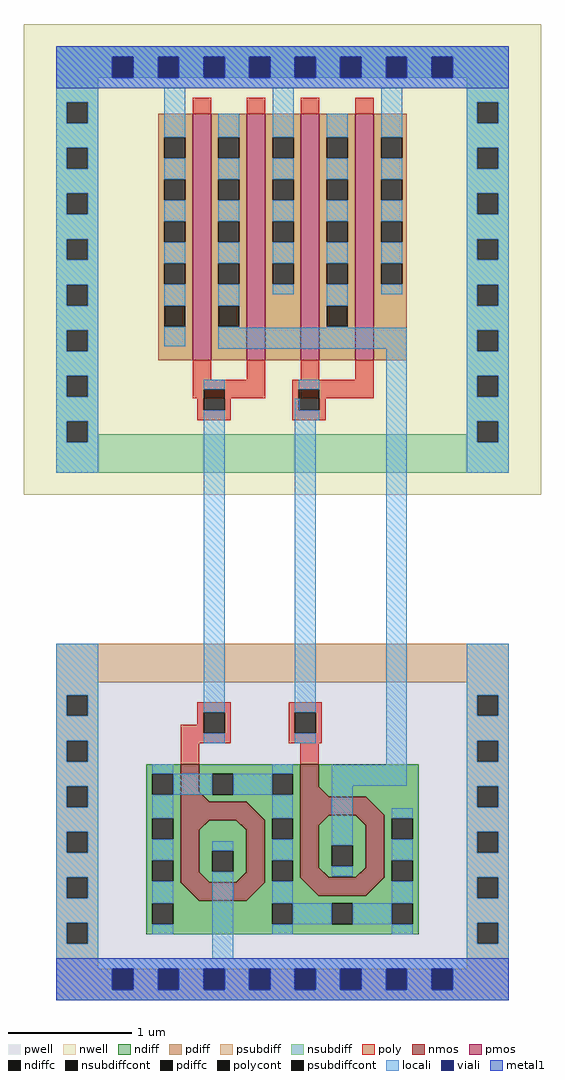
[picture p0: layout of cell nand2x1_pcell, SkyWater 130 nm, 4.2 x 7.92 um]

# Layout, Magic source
magic
tech sky130A
magscale 1 2
<< nwell >>
rect 87 786 579 1550
<< pwell >>
rect 34 542 632 544
rect -31 -30 697 542
rect 34 -34 632 -30
<< pdiffc >>
rect 141 1059 175 1093
rect 229 1059 263 1093
rect 405 1059 439 1093
<< psubdiff >>
rect 34 542 632 544
rect 31 482 635 542
rect 31 480 34 482
rect 632 480 635 482
rect 31 -17 57 17
rect 91 -17 131 17
rect 165 -17 205 17
rect 239 -17 279 17
rect 313 -17 353 17
rect 387 -17 427 17
rect 461 -17 501 17
rect 535 -17 575 17
rect 609 -17 635 17
rect 31 -30 635 -17
rect 34 -34 632 -30
<< nsubdiff >>
rect 34 1497 632 1514
rect 34 1463 57 1497
rect 91 1463 131 1497
rect 165 1463 205 1497
rect 239 1463 279 1497
rect 313 1463 353 1497
rect 387 1463 427 1497
rect 461 1463 501 1497
rect 535 1463 575 1497
rect 609 1463 632 1497
rect 34 822 632 884
<< psubdiffcont >>
rect 57 -17 91 17
rect 131 -17 165 17
rect 205 -17 239 17
rect 279 -17 313 17
rect 353 -17 387 17
rect 427 -17 461 17
rect 501 -17 535 17
rect 575 -17 609 17
<< nsubdiffcont >>
rect 57 1463 91 1497
rect 131 1463 165 1497
rect 205 1463 239 1497
rect 279 1463 313 1497
rect 353 1463 387 1497
rect 427 1463 461 1497
rect 501 1463 535 1497
rect 575 1463 609 1497
<< poly >>
rect 168 375 198 413
rect 362 382 392 383
<< locali >>
rect 34 1497 632 1514
rect 34 1463 57 1497
rect 91 1463 131 1497
rect 165 1463 205 1497
rect 239 1463 279 1497
rect 313 1463 353 1497
rect 387 1463 427 1497
rect 461 1463 501 1497
rect 535 1463 575 1497
rect 609 1463 632 1497
rect 34 1446 632 1463
rect 141 1093 175 1111
rect 141 1027 175 1059
rect 229 1093 263 1111
rect 229 1057 263 1059
rect 405 1093 439 1111
rect 405 1057 439 1059
rect 229 1023 535 1057
rect 353 908 361 942
rect 205 433 239 908
rect 353 441 387 908
rect 353 433 357 441
rect 501 348 535 1023
rect 413 314 535 348
rect 413 233 447 314
rect 219 34 253 167
rect 34 32 632 34
rect 31 17 635 32
rect 31 -17 57 17
rect 91 -17 131 17
rect 165 -17 205 17
rect 239 -17 279 17
rect 313 -17 353 17
rect 387 -17 427 17
rect 461 -17 501 17
rect 535 -17 575 17
rect 609 -17 635 17
rect 31 -30 635 -17
rect 34 -34 632 -30
<< viali >>
rect 57 1463 91 1497
rect 131 1463 165 1497
rect 205 1463 239 1497
rect 279 1463 313 1497
rect 353 1463 387 1497
rect 427 1463 461 1497
rect 501 1463 535 1497
rect 575 1463 609 1497
rect 57 -17 91 17
rect 131 -17 165 17
rect 205 -17 239 17
rect 279 -17 313 17
rect 353 -17 387 17
rect 427 -17 461 17
rect 501 -17 535 17
rect 575 -17 609 17
<< metal1 >>
rect 34 1497 632 1514
rect 34 1463 57 1497
rect 91 1463 131 1497
rect 165 1463 205 1497
rect 239 1463 279 1497
rect 313 1463 353 1497
rect 387 1463 427 1497
rect 461 1463 501 1497
rect 535 1463 575 1497
rect 609 1463 632 1497
rect 34 1446 632 1463
rect 34 32 632 34
rect 31 17 635 32
rect 31 -17 57 17
rect 91 -17 131 17
rect 165 -17 205 17
rect 239 -17 279 17
rect 313 -17 353 17
rect 387 -17 427 17
rect 461 -17 501 17
rect 535 -17 575 17
rect 609 -17 635 17
rect 31 -30 635 -17
rect 34 -34 632 -30
use poly_li1_contact  poly_li1_contact_1
transform 0 1 223 -1 0 417
box -32 -28 34 26
use nmos_bottom  nmos_bottom_0
transform -1 0 360 0 1 73
box 0 0 248 302
use poly_li1_contact  poly_li1_contact_0
transform 0 1 223 -1 0 941
box -32 -28 34 26
use pmos2  pmos2_0
transform 1 0 43 0 1 1404
box 52 -461 352 42
use poly_li1_contact  poly_li1_contact_2
transform 0 -1 369 1 0 415
box -32 -28 34 26
use nmos_top_trim1  nmos_top_trim1_0
transform -1 0 554 0 1 73
box 0 0 248 309
use poly_li1_contact  poly_li1_contact_3
transform 0 1 377 -1 0 941
box -32 -28 34 26
use pmos2  pmos2_1
transform 1 0 219 0 1 1404
box 52 -461 352 42
use diff_ring_side  diff_ring_side_0
transform 1 0 666 0 1 0
box -87 -34 87 1550
use diff_ring_side  diff_ring_side_1
transform 1 0 0 0 1 0
box -87 -34 87 1550
<< end >>

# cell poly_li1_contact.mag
magic
tech sky130
<< poly >>
rect -16 8 17 13
rect -16 -9 -8 8
rect 9 -9 17 8
rect -16 -14 17 -9
<< polycont >>
rect -8 -9 9 8
<< locali >>
rect -16 -9 -8 8
rect 9 -9 17 8
<< end >>

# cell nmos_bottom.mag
magic
tech sky130
magscale 1 2
<< nmos >>
tri 146 215 162 231 se
rect 162 215 192 276
tri 56 185 86 215 se
rect 86 185 192 215
rect 56 84 86 185
tri 86 169 102 185 nw
tri 146 169 162 185 ne
tri 86 84 102 100 sw
tri 146 84 162 100 se
rect 162 84 192 185
tri 56 54 86 84 ne
rect 86 54 162 84
tri 162 54 192 84 nw
<< ndiff >>
rect 0 260 162 276
rect 0 226 10 260
rect 44 226 107 260
rect 141 231 162 260
rect 141 226 146 231
rect 0 215 146 226
tri 146 215 162 231 nw
rect 192 260 248 276
rect 192 226 204 260
rect 238 226 248 260
rect 0 188 56 215
rect 0 154 10 188
rect 44 154 56 188
tri 56 185 86 215 nw
rect 192 188 248 226
rect 0 120 56 154
rect 0 86 10 120
rect 44 86 56 120
rect 0 54 56 86
tri 86 169 102 185 se
rect 102 169 146 185
tri 146 169 162 185 sw
rect 86 135 162 169
rect 86 101 107 135
rect 141 101 162 135
rect 86 100 162 101
tri 86 84 102 100 ne
rect 102 84 146 100
tri 146 84 162 100 nw
rect 192 154 204 188
rect 238 154 248 188
rect 192 120 248 154
rect 192 86 204 120
rect 238 86 248 120
tri 56 54 86 84 sw
tri 162 54 192 84 se
rect 192 54 248 86
rect 0 50 248 54
rect 0 16 10 50
rect 44 16 204 50
rect 238 16 248 50
rect 0 0 248 16
<< ndiffc >>
rect 10 226 44 260
rect 107 226 141 260
rect 204 226 238 260
rect 10 154 44 188
rect 10 86 44 120
rect 107 101 141 135
rect 204 154 238 188
rect 204 86 238 120
rect 10 16 44 50
rect 204 16 238 50
<< poly >>
rect 162 276 192 302
<< locali >>
rect 10 260 44 276
rect 204 260 238 276
rect 44 226 107 260
rect 141 226 204 260
rect 10 188 44 226
rect 10 120 44 154
rect 204 188 238 226
rect 10 50 44 86
rect 107 135 141 151
rect 107 85 141 101
rect 204 120 238 154
rect 10 0 44 16
rect 204 50 238 86
rect 204 0 238 16
<< end >>

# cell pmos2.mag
magic
tech sky130
magscale 1 2
<< nwell >>
rect 52 -436 352 36
<< pmos >>
rect 144 -400 174 0
rect 232 -400 262 0
<< pdiff >>
rect 88 -38 144 0
rect 88 -72 98 -38
rect 132 -72 144 -38
rect 88 -106 144 -72
rect 88 -140 98 -106
rect 132 -140 144 -106
rect 88 -174 144 -140
rect 88 -208 98 -174
rect 132 -208 144 -174
rect 88 -242 144 -208
rect 88 -276 98 -242
rect 132 -276 144 -242
rect 88 -400 144 -276
rect 174 -38 232 0
rect 174 -72 186 -38
rect 220 -72 232 -38
rect 174 -106 232 -72
rect 174 -140 186 -106
rect 220 -140 232 -106
rect 174 -174 232 -140
rect 174 -208 186 -174
rect 220 -208 232 -174
rect 174 -242 232 -208
rect 174 -276 186 -242
rect 220 -276 232 -242
rect 174 -400 232 -276
rect 262 -38 316 0
rect 262 -72 274 -38
rect 308 -72 316 -38
rect 262 -106 316 -72
rect 262 -140 274 -106
rect 308 -140 316 -106
rect 262 -174 316 -140
rect 262 -208 274 -174
rect 308 -208 316 -174
rect 262 -242 316 -208
rect 262 -276 274 -242
rect 308 -276 316 -242
rect 262 -400 316 -276
<< pdiffc >>
rect 98 -72 132 -38
rect 98 -140 132 -106
rect 98 -208 132 -174
rect 98 -276 132 -242
rect 186 -72 220 -38
rect 186 -140 220 -106
rect 186 -208 220 -174
rect 186 -276 220 -242
rect 274 -72 308 -38
rect 274 -140 308 -106
rect 274 -208 308 -174
rect 274 -276 308 -242
<< poly >>
rect 144 0 174 26
rect 232 0 262 26
rect 144 -431 174 -400
rect 232 -431 262 -400
rect 144 -461 262 -431
<< locali >>
rect 98 -38 132 42
rect 98 -106 132 -72
rect 98 -174 132 -140
rect 98 -242 132 -208
rect 98 -293 132 -276
rect 186 -38 220 0
rect 186 -106 220 -72
rect 186 -174 220 -140
rect 186 -242 220 -208
rect 186 -293 220 -276
rect 274 -38 308 42
rect 274 -106 308 -72
rect 274 -174 308 -140
rect 274 -242 308 -208
rect 274 -293 308 -276
<< end >>

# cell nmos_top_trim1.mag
magic
tech sky130
magscale 1 2
<< nmos >>
tri 146 223 162 239 se
rect 162 223 192 276
tri 56 193 86 223 se
rect 86 193 192 223
rect 56 92 86 193
tri 86 177 102 193 nw
tri 146 177 162 193 ne
tri 86 92 102 108 sw
tri 146 92 162 108 se
rect 162 92 192 193
tri 56 62 86 92 ne
rect 86 62 162 92
tri 162 62 192 92 nw
<< ndiff >>
rect 0 239 162 276
rect 0 223 146 239
tri 146 223 162 239 nw
rect 192 260 248 276
rect 192 226 204 260
rect 238 226 248 260
rect 0 188 56 223
tri 56 193 86 223 nw
rect 0 154 10 188
rect 44 154 56 188
rect 0 120 56 154
rect 0 86 10 120
rect 44 86 56 120
tri 86 177 102 193 se
rect 102 177 146 193
tri 146 177 162 193 sw
rect 86 144 162 177
rect 86 110 107 144
rect 141 110 162 144
rect 86 108 162 110
tri 86 92 102 108 ne
rect 102 92 146 108
tri 146 92 162 108 nw
rect 192 188 248 226
rect 192 154 204 188
rect 238 154 248 188
rect 192 120 248 154
rect 0 62 56 86
tri 56 62 86 92 sw
tri 162 62 192 92 se
rect 192 86 204 120
rect 238 86 248 120
rect 192 62 248 86
rect 0 50 248 62
rect 0 16 10 50
rect 44 16 107 50
rect 141 16 204 50
rect 238 16 248 50
rect 0 0 248 16
<< ndiffc >>
rect 204 226 238 260
rect 10 154 44 188
rect 10 86 44 120
rect 107 110 141 144
rect 204 154 238 188
rect 204 86 238 120
rect 10 16 44 50
rect 107 16 141 50
rect 204 16 238 50
<< poly >>
rect 162 276 192 309
<< locali >>
rect 204 260 238 276
rect 10 188 44 204
rect 204 188 238 226
rect 10 120 44 154
rect 107 144 141 161
rect 107 94 141 110
rect 204 120 238 154
rect 10 50 44 86
rect 204 50 238 86
rect 44 16 107 50
rect 141 16 204 50
rect 10 0 44 16
rect 204 0 238 16
<< end >>

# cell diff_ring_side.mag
magic
tech sky130A
magscale 1 2
<< nwell >>
rect -87 786 87 1550
<< pwell >>
rect -34 -34 34 544
<< psubdiff >>
rect -34 461 34 544
rect -34 427 -17 461
rect 17 427 34 461
rect -34 387 34 427
rect -34 353 -17 387
rect 17 353 34 387
rect -34 313 34 353
rect -34 279 -17 313
rect 17 279 34 313
rect -34 239 34 279
rect -34 205 -17 239
rect 17 205 34 239
rect -34 165 34 205
rect -34 131 -17 165
rect 17 131 34 165
rect -34 91 34 131
rect -34 57 -17 91
rect 17 57 34 91
rect -34 -34 34 57
<< nsubdiff >>
rect -34 1423 34 1514
rect -34 1389 -17 1423
rect 17 1389 34 1423
rect -34 1349 34 1389
rect -34 1315 -17 1349
rect 17 1315 34 1349
rect -34 1275 34 1315
rect -34 1241 -17 1275
rect 17 1241 34 1275
rect -34 1201 34 1241
rect -34 1167 -17 1201
rect 17 1167 34 1201
rect -34 1127 34 1167
rect -34 1093 -17 1127
rect 17 1093 34 1127
rect -34 1053 34 1093
rect -34 1019 -17 1053
rect 17 1019 34 1053
rect -34 979 34 1019
rect -34 945 -17 979
rect 17 945 34 979
rect -34 905 34 945
rect -34 871 -17 905
rect 17 871 34 905
rect -34 822 34 871
<< psubdiffcont >>
rect -17 427 17 461
rect -17 353 17 387
rect -17 279 17 313
rect -17 205 17 239
rect -17 131 17 165
rect -17 57 17 91
<< nsubdiffcont >>
rect -17 1389 17 1423
rect -17 1315 17 1349
rect -17 1241 17 1275
rect -17 1167 17 1201
rect -17 1093 17 1127
rect -17 1019 17 1053
rect -17 945 17 979
rect -17 871 17 905
<< locali >>
rect -34 1423 34 1514
rect -34 1389 -17 1423
rect 17 1389 34 1423
rect -34 1349 34 1389
rect -34 1315 -17 1349
rect 17 1315 34 1349
rect -34 1275 34 1315
rect -34 1241 -17 1275
rect 17 1241 34 1275
rect -34 1201 34 1241
rect -34 1167 -17 1201
rect 17 1167 34 1201
rect -34 1127 34 1167
rect -34 1093 -17 1127
rect 17 1093 34 1127
rect -34 1053 34 1093
rect -34 1019 -17 1053
rect 17 1019 34 1053
rect -34 979 34 1019
rect -34 945 -17 979
rect 17 945 34 979
rect -34 905 34 945
rect -34 871 -17 905
rect 17 871 34 905
rect -34 822 34 871
rect -34 461 34 544
rect -34 427 -17 461
rect 17 427 34 461
rect -34 387 34 427
rect -34 353 -17 387
rect 17 353 34 387
rect -34 313 34 353
rect -34 279 -17 313
rect 17 279 34 313
rect -34 239 34 279
rect -34 205 -17 239
rect 17 205 34 239
rect -34 165 34 205
rect -34 131 -17 165
rect 17 131 34 165
rect -34 91 34 131
rect -34 57 -17 91
rect 17 57 34 91
rect -34 -34 34 57
<< metal1 >>
rect -34 1446 34 1514
rect -34 -34 34 34
<< end >>
